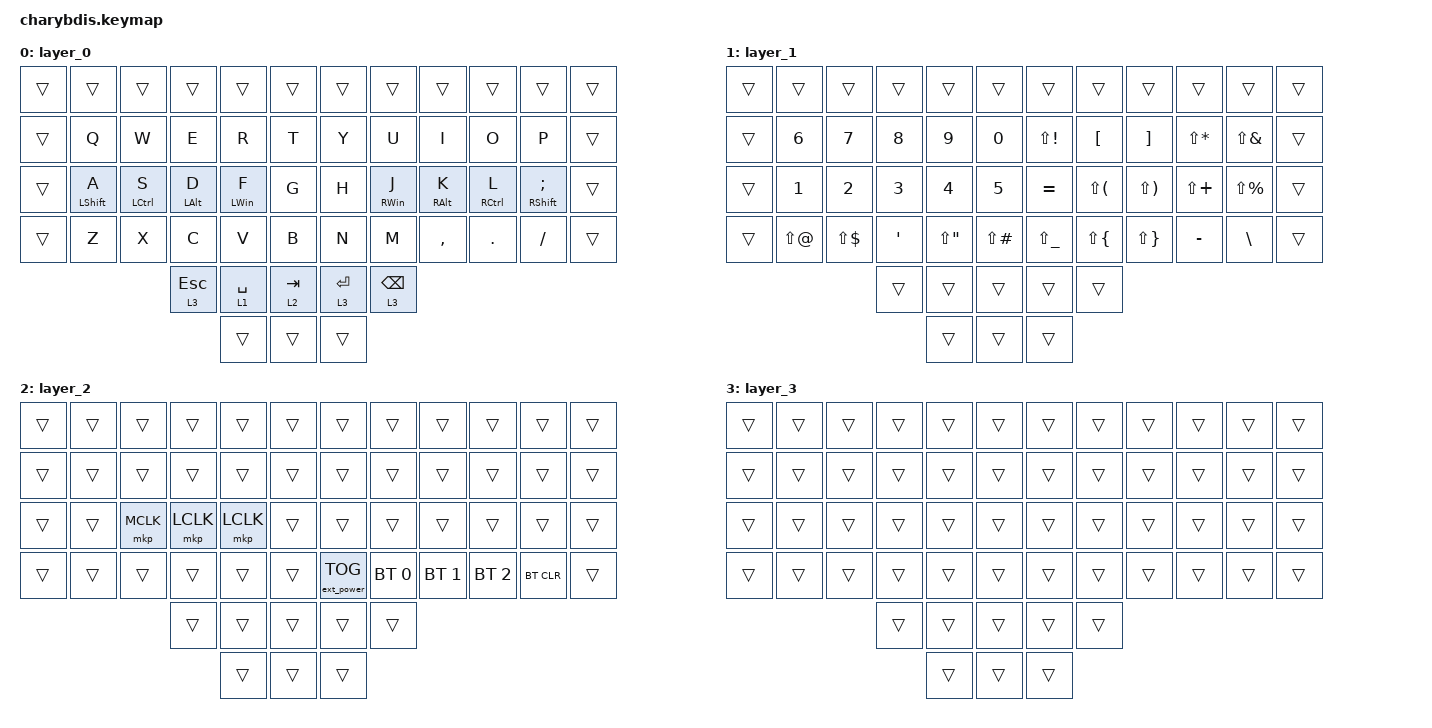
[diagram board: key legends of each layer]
#include <behaviors/mouse_keys.dtsi>
#include <behaviors.dtsi>
#include <dt-bindings/zmk/bt.h>
#include <dt-bindings/zmk/keys.h>
#include <dt-bindings/zmk/mouse.h>
#include <dt-bindings/zmk/outputs.h>

/ {
    combos {
        compatible = "zmk,combos";

        escc {
            bindings = <&kp ESC>;
            key-positions = <17 18>;
        };
    };

    behaviors {
        homerow: homerow {
            compatible = "zmk,behavior-hold-tap";
            label = "HOMEROW";
            bindings = <&kp>, <&kp>;

            #binding-cells = <2>;
            tapping-term-ms = <180>;
            quick-tap-ms = <0>;
            flavor = "tap-preferred";
        };
    };

    keymap {
        compatible = "zmk,keymap";

        layer_0 {
            bindings = <
&trans  &trans                 &trans            &trans               &trans               &trans       &trans       &trans                &trans                &trans            &trans                     &trans
&trans  &kp Q                  &kp W             &kp E                &kp R                &kp T        &kp Y        &kp U                 &kp I                 &kp O             &kp P                      &trans
&trans  &homerow LEFT_SHIFT A  &homerow LCTRL S  &homerow LEFT_ALT D  &homerow LEFT_WIN F  &kp G        &kp H        &homerow RIGHT_WIN J  &homerow RIGHT_ALT K  &homerow RCTRL L  &homerow RIGHT_SHIFT SEMI  &trans
&trans  &kp Z                  &kp X             &kp C                &kp V                &kp B        &kp N        &kp M                 &kp COMMA             &kp DOT           &kp FSLH                   &trans
                                                 &lt 3 ESC            &lt 1 SPACE          &lt 2 TAB    &lt 3 ENTER  &lt 3 BACKSPACE
                                                                      &trans               &trans       &trans
            >;
        };

        layer_1 {
            bindings = <
&trans  &trans      &trans        &trans   &trans       &trans           &trans         &trans        &trans        &trans        &trans         &trans
&trans  &kp N6      &kp N7        &kp N8   &kp N9       &kp N0           &kp LS(EXCL)   &kp LBKT      &kp RBKT      &kp LS(STAR)  &kp LS(AMPS)   &trans
&trans  &kp N1      &kp N2        &kp N3   &kp N4       &kp N5           &kp EQUAL      &kp LS(LPAR)  &kp LS(RPAR)  &kp LS(PLUS)  &kp LS(PRCNT)  &trans
&trans  &kp LS(AT)  &kp LS(DLLR)  &kp SQT  &kp LS(DQT)  &kp LS(POUND)    &kp LS(UNDER)  &kp LS(LBRC)  &kp LS(RBRC)  &kp MINUS     &kp BSLH       &trans
                                  &trans   &trans       &trans           &trans         &trans
                                           &trans       &trans           &trans
            >;
        };

        layer_2 {
            bindings = <
&trans  &trans  &trans     &trans     &trans     &trans    &trans             &trans        &trans        &trans        &trans      &trans
&trans  &trans  &trans     &trans     &trans     &trans    &trans             &trans        &trans        &trans        &trans      &trans
&trans  &trans  &mkp MCLK  &mkp LCLK  &mkp LCLK  &trans    &trans             &trans        &trans        &trans        &trans      &trans
&trans  &trans  &trans     &trans     &trans     &trans    &ext_power EP_TOG  &bt BT_SEL 0  &bt BT_SEL 1  &bt BT_SEL 2  &bt BT_CLR  &trans
                           &trans     &trans     &trans    &trans             &trans
                                      &trans     &trans    &trans
            >;
        };

        layer_3 {
            bindings = <
&trans  &trans  &trans  &trans  &trans  &trans    &trans  &trans  &trans  &trans  &trans  &trans
&trans  &trans  &trans  &trans  &trans  &trans    &trans  &trans  &trans  &trans  &trans  &trans
&trans  &trans  &trans  &trans  &trans  &trans    &trans  &trans  &trans  &trans  &trans  &trans
&trans  &trans  &trans  &trans  &trans  &trans    &trans  &trans  &trans  &trans  &trans  &trans
                        &trans  &trans  &trans    &trans  &trans
                                &trans  &trans    &trans
            >;
        };
    };
};
    };
};
